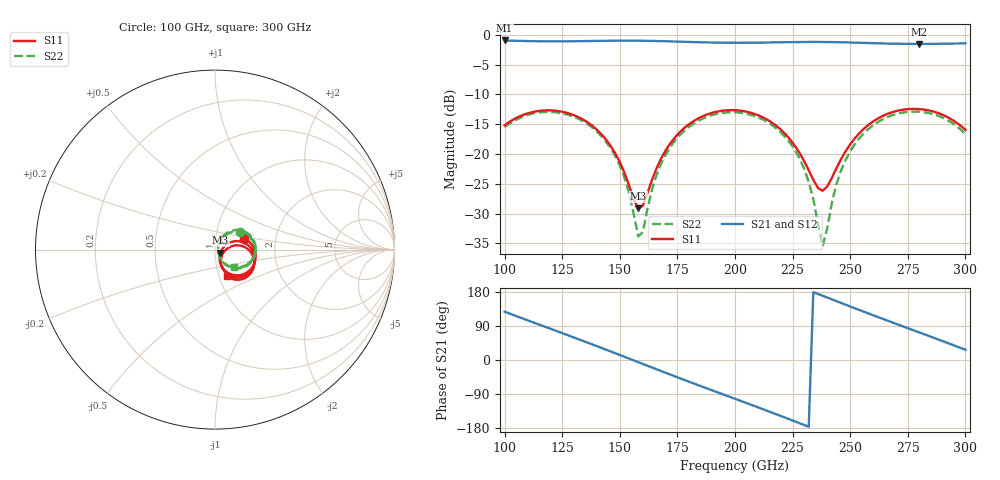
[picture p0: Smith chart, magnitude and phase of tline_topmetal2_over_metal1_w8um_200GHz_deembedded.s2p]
! Created with skrf 2.0.1 (http://scikit-rf.org).
# GHz S DB R 50.0
!freq dBS11 angS11 dBS21 angS21 dBS12 angS12 dBS22 angS22
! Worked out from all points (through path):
!   101 points, 100 GHz to 300 GHz, reference 50 ohm
!   highest |S21| = -0.94 dB at 100 GHz (marker M1); lowest = -1.5 dB at 280 GHz (marker M2)
!   group delay of S21, straight-line fit = 6.41 ps
!   lowest |S11| = -29.2 dB at 158 GHz (marker M3), VSWR 1.07, Z = 53.1 - j1.82 ohm
!   |S11| at or under -10 dB: start of sweep to end of sweep
!   |S22| runs from -35.5 to -12.9 dB; largest |S21 - S12| = 1.5e-13
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100  -15.20 20.4  -0.94 127.5  -0.94 127.5  -15.48 34.5
116  -12.73 -11.5  -1.08 91.2  -1.08 91.2  -12.99 3.7
134  -14.22 -47.3  -1.05 50.5  -1.05 50.5  -14.49 -31.7
150  -21.36 -68.8  -0.98 13.2  -0.98 13.2  -21.93 -57.8
154  -25.25 -62.5  -0.98 3.8  -0.98 3.8  -26.56 -56.4
158  -29.16 -29.4  -0.99 -5.7  -0.99 -5.7  -33.84 -19.3
160  -28.66 -3.9  -1.00 -10.4  -1.00 -10.4  -33.13 26.7
164  -24.32 21.6  -1.02 -19.9  -1.02 -19.9  -25.92 55.7
168  -20.71 25.3  -1.06 -29.3  -1.06 -29.3  -21.57 55.9
184  -14.04 3.0  -1.24 -66.3  -1.24 -66.3  -14.45 29.4
200  -12.65 -27.3  -1.33 -102.4  -1.33 -102.4  -13.00 -2.3
210  -13.49 -45.8  -1.31 -125.0  -1.31 -125.0  -13.85 -22.3
222  -16.72 -64.6  -1.24 -152.7  -1.24 -152.7  -17.23 -45.6
230  -21.19 -67.2  -1.20 -171.4  -1.20 -171.4  -22.48 -57.2
234  -24.35 -56.2  -1.19 179.1  -1.19 179.1  -27.63 -55.1
238  -26.19 -26.7  -1.20 169.6  -1.20 169.6  -35.48 -3.4
244  -22.42 7.9  -1.23 155.4  -1.23 155.4  -25.14 61.3
248  -19.55 12.0  -1.27 146.0  -1.27 146.0  -21.02 59.3
256  -15.74 5.4  -1.35 127.3  -1.35 127.3  -16.51 46.2
268  -13.02 -13.8  -1.48 99.8  -1.48 99.8  -13.53 22.6
280  -12.46 -34.9  -1.53 72.8  -1.53 72.8  -12.91 -1.9
300  -15.97 -65.6  -1.42 27.0  -1.42 27.0  -16.68 -42.6
